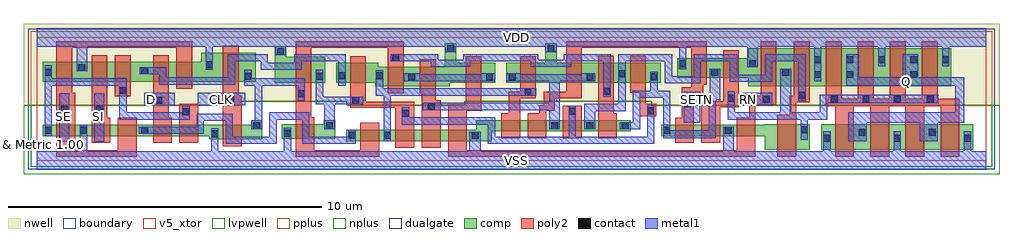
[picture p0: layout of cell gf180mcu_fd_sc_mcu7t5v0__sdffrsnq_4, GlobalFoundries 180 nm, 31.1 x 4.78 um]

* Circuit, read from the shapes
.subckt gf180mcu_fd_sc_mcu7t5v0__sdffrsnq_4 CLK D Q RN SE SETN SI VDD VSS
XM1 VSS SE n1 VSUBS nfet_05v0 w=0.36u l=0.6u
XM2 n2 SI VSS VSUBS nfet_05v0 w=0.36u l=0.6u
XM3 n3 SE n2 VSUBS nfet_05v0 w=0.36u l=0.6u
XM4 n4 D n3 VSUBS nfet_05v0 w=0.36u l=0.6u
XM5 VSS n1 n4 VSUBS nfet_05v0 w=0.36u l=0.6u
XM6 n5 CLK VSS VSUBS nfet_05v0 w=0.465u l=0.6u
XM7 n6 n5 VSS VSUBS nfet_05v0 w=0.465u l=0.6u
XM8 n7 n5 n3 VSUBS nfet_05v0 w=0.36u l=0.6u
XM9 n8 n6 n7 VSUBS nfet_05v0 w=0.36u l=0.6u
XM10 n9 n10 n8 VSUBS nfet_05v0 w=0.36u l=0.6u
XM11 VSS RN n9 VSUBS nfet_05v0 w=0.36u l=0.6u
XM12 n11 n7 VSS VSUBS nfet_05v0 w=0.36u l=0.6u
XM13 n10 SETN n11 VSUBS nfet_05v0 w=0.36u l=0.6u
XM14 n12 n6 n10 VSUBS nfet_05v0 w=0.36u l=0.6u
XM15 n13 n5 n12 VSUBS nfet_05v0 w=0.36u l=0.6u
XM16 n14 SETN n13 VSUBS nfet_05v0 w=0.36u l=0.6u
XM17 VSS n15 n14 VSUBS nfet_05v0 w=0.36u l=0.6u
XM18 n16 RN VSS VSUBS nfet_05v0 w=0.36u l=0.6u
XM19 n15 n12 n16 VSUBS nfet_05v0 w=0.82u l=0.6u
XM20 Q n15 VSS VSUBS nfet_05v0 w=0.82u l=0.6u m=4
XM21 VDD SE n1 n17 pfet_05v0 w=0.63u l=0.5u
XM22 n18 SI VDD n17 pfet_05v0 w=0.63u l=0.5u
XM23 n19 n1 n18 n17 pfet_05v0 w=0.63u l=0.5u
XM24 n20 D n19 n17 pfet_05v0 w=0.63u l=0.5u
XM25 VDD SE n20 n17 pfet_05v0 w=0.63u l=0.5u
XM26 n5 CLK VDD n17 pfet_05v0 w=0.925u l=0.5u
XM27 n6 n5 VDD n17 pfet_05v0 w=0.815u l=0.5u
XM28 n7 n6 n19 n17 pfet_05v0 w=0.625u l=0.5u
XM29 n21 n5 n7 n17 pfet_05v0 w=0.625u l=0.5u
XM30 VDD n10 n21 n17 pfet_05v0 w=0.625u l=0.5u
XM31 n21 RN VDD n17 pfet_05v0 w=0.625u l=0.5u
XM32 VDD n7 n10 n17 pfet_05v0 w=0.625u l=0.5u
XM33 n10 SETN VDD n17 pfet_05v0 w=0.63u l=0.5u
XM34 n12 n5 n10 n17 pfet_05v0 w=0.63u l=0.5u
XM35 n13 n6 n12 n17 pfet_05v0 w=0.63u l=0.5u
XM36 n13 SETN VDD n17 pfet_05v0 w=0.63u l=0.5u
XM37 VDD n15 n13 n17 pfet_05v0 w=0.63u l=0.5u
XM38 n15 RN VDD n17 pfet_05v0 w=1.22u l=0.5u
XM39 VDD n12 n15 n17 pfet_05v0 w=1.22u l=0.5u
XM40 Q n15 VDD n17 pfet_05v0 w=1.22u l=0.5u m=4
.ends

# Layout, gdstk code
import gdstk
lib = gdstk.Library(unit=1e-6, precision=1e-09)
def R(c, l, rs):  # rectangles x0, y0, x1, y1
    for r in rs: c.add(gdstk.rectangle(r[:2], r[2:], *l))
def A(c, l, x, y, w, h, nx, ny, dx, dy):  # array of equal rectangles
    R(c, l, [(x+i*dx, y+j*dy, x+i*dx+w, y+j*dy+h) for i in range(nx) for j in range(ny)])
def P(c, l, *ps):  # polygons
    for p in ps: c.add(gdstk.Polygon(p, *l))
boundary = (0, 0)
nwell = (21, 0)
comp = (22, 0)
poly2 = (30, 0)
pplus = (31, 0)
nplus = (32, 0)
contact = (33, 0)
metal1 = (34, 0)
dualgate = (55, 0)
v5_xtor = (112, 1)
lvpwell = (204, 0)

gf180mcu_fd_sc_mcu7t5v0_ = lib.new_cell('gf180mcu_fd_sc_mcu7t5v0__sdffrsnq_4')
R(gf180mcu_fd_sc_mcu7t5v0_, boundary, [(0,0,30.24,3.92)])
P(gf180mcu_fd_sc_mcu7t5v0_, nwell, [(-0.43,1.76),(-0.43,4.35),(30.67,4.35),(30.67,1.76),(19.59,1.76),(19.59,1.885),(13.63,1.885),(13.63,1.76),(9.87,1.76),(9.87,1.885),(6.455,1.885),(6.455,1.76)])
R(gf180mcu_fd_sc_mcu7t5v0_, comp, [(24.99,0.34,29.83,1.16)])
P(gf180mcu_fd_sc_mcu7t5v0_, comp, [(0.18,2.51),(0.18,3.14),(5.24,3.14),(5.24,3.435),(6.965,3.435),(6.965,2.51)],
  [(5.485,0.675),(5.485,0.78),(0.18,0.78),(0.18,1.14),(6.825,1.14),(6.825,1.285),(7.185,1.285),(7.185,0.675)],
  [(7.58,2.485),(7.58,3.645),(7.94,3.645),(7.94,3.3),(9.18,3.3),(9.18,2.485)],
  [(7.8,0.695),(7.8,1.16),(9.14,1.16),(9.14,1.285),(9.5,1.285),(9.5,0.695)],
  [(10.78,2.37),(10.78,2.485),(9.54,2.485),(9.54,3.11),(10.88,3.11),(10.88,2.995),(13,2.995),(13,3.74),(13.36,3.74),(13.36,3.11),(14.6,3.11),(14.6,2.485),(13.15,2.485),(13.15,2.37)],
  [(9.86,0.62),(9.86,0.98),(14,0.98),(14,1.285),(18.92,1.285),(18.92,0.925),(14.495,0.925),(14.495,0.62)],
  [(14.96,2.485),(14.96,3.11),(16.2,3.11),(16.2,3.74),(16.56,3.74),(16.56,3.115),(19.88,3.115),(19.88,2.485)],
  [(23.19,0.34),(23.19,0.78),(19.89,0.78),(19.89,1.14),(23.19,1.14),(23.19,1.16),(24.63,1.16),(24.63,0.34)],
  [(22.66,2.36),(22.66,2.635),(20.4,2.635),(20.4,3.265),(22.66,3.265),(22.66,3.58),(29.14,3.58),(29.14,2.36)])
R(gf180mcu_fd_sc_mcu7t5v0_, poly2, [(4.54,0.56,5.14,1.815), (16.755,0.705,17.355,1.745), (2.48,2.05,2.98,3.36)])
P(gf180mcu_fd_sc_mcu7t5v0_, poly2, [(1.74,0.56),(1.74,3.36),(2.24,3.36),(2.24,1.36),(2.34,1.36),(2.34,0.56)],
  [(3.7,0.56),(3.7,3.36),(4.2,3.36),(4.2,1.36),(4.3,1.36),(4.3,0.56)],
  [(0.62,0.12),(0.62,3.8),(4.94,3.8),(4.94,2.29),(4.44,2.29),(4.44,3.6),(1.12,3.6),(1.12,2.16),(1.22,2.16),(1.22,0.32),(2.58,0.32),(2.58,1.36),(3.18,1.36),(3.18,0.12)],
  [(5.925,0.455),(5.925,3.655),(6.425,3.655),(6.425,2.065),(6.525,2.065),(6.525,0.455)],
  [(8.24,0.12),(8.24,3.8),(11.68,3.8),(11.68,2.15),(11.18,2.15),(11.18,3.6),(8.74,3.6),(8.74,1.385),(8.84,1.385),(8.84,0.32),(10.3,0.32),(10.3,1.2),(10.9,1.2),(10.9,0.12)],
  [(11.42,0.4),(11.42,1.68),(9.98,1.68),(9.98,3.33),(10.48,3.33),(10.48,1.88),(12.02,1.88),(12.02,0.4)],
  [(12.26,0.4),(12.26,2.15),(12.2,2.15),(12.2,3.22),(12.7,3.22),(12.7,1.92),(12.86,1.92),(12.86,0.4)],
  [(14.795,0.705),(14.795,1.505),(15.035,1.505),(15.035,2.185),(15.4,2.185),(15.4,3.33),(15.9,3.33),(15.9,1.985),(15.395,1.985),(15.395,0.705)],
  [(17.88,0.705),(17.88,3.335),(18.38,3.335),(18.38,1.505),(18.48,1.505),(18.48,0.705)],
  [(19.2,1.405),(19.2,2.155),(18.9,2.155),(18.9,3.335),(19.4,3.335),(19.4,1.805),(19.74,1.805),(19.74,1.405)],
  [(20.33,0.56),(20.33,1.36),(20.54,1.36),(20.54,2.33),(20.84,2.33),(20.84,3.6),(17.36,3.6),(17.36,1.985),(16.5,1.985),(16.5,1.585),(16.235,1.585),(16.235,0.705),(15.635,0.705),(15.635,1.505),(16,1.505),(16,1.765),(16.14,1.765),(16.14,2.185),(16.86,2.185),(16.86,3.8),(21.34,3.8),(21.34,2.415),(21.23,2.415),(21.23,2.13),(20.93,2.13),(20.93,0.56)],
  [(21.17,0.56),(21.17,1.89),(21.86,1.89),(21.86,3.52),(22.36,3.52),(22.36,1.69),(21.77,1.69),(21.77,0.56)],
  [(13.1,0.12),(13.1,1.785),(13.66,1.785),(13.66,3.33),(14.16,3.33),(14.16,1.585),(13.7,1.585),(13.7,0.32),(22.29,0.32),(22.29,1.36),(22.69,1.36),(22.69,2.06),(23.06,2.06),(23.06,3.8),(23.56,3.8),(23.56,1.775),(22.89,1.775),(22.89,0.12)],
  [(23.59,0.12),(23.59,1.465),(23.99,1.465),(23.99,2.06),(24.12,2.06),(24.12,3.8),(24.62,3.8),(24.62,1.86),(24.19,1.86),(24.19,0.12)],
  [(25.43,0.12),(25.43,1.735),(25.14,1.735),(25.14,3.8),(25.64,3.8),(25.64,1.97),(26.16,1.97),(26.16,3.8),(26.66,3.8),(26.66,1.97),(27.18,1.97),(27.18,3.8),(27.68,3.8),(27.68,1.97),(28.2,1.97),(28.2,3.8),(28.7,3.8),(28.7,1.97),(29.39,1.97),(29.39,0.12),(28.79,0.12),(28.79,1.735),(28.27,1.735),(28.27,0.12),(27.67,0.12),(27.67,1.735),(27.15,1.735),(27.15,0.12),(26.55,0.12),(26.55,1.735),(26.03,1.735),(26.03,0.12)])
P(gf180mcu_fd_sc_mcu7t5v0_, pplus, [(-0.2,1.76),(-0.2,4.12),(30.44,4.12),(30.44,1.76),(19.59,1.76),(19.59,1.885),(13.63,1.885),(13.63,1.76),(9.87,1.76),(9.87,1.885),(6.455,1.885),(6.455,1.76)])
P(gf180mcu_fd_sc_mcu7t5v0_, nplus, [(-0.2,-0.2),(-0.2,1.76),(6.455,1.76),(6.455,1.885),(9.87,1.885),(9.87,1.76),(13.63,1.76),(13.63,1.885),(19.59,1.885),(19.59,1.76),(30.44,1.76),(30.44,-0.2)])
A(gf180mcu_fd_sc_mcu7t5v0_, contact, 25.06, 0.605, 0.22, 0.22, 3, 1, 2.24, 0)
A(gf180mcu_fd_sc_mcu7t5v0_, contact, 24.77, 3.1, 0.22, 0.22, 5, 1, 1.02, 0)
R(gf180mcu_fd_sc_mcu7t5v0_, contact, [(9.93,0.69,10.15,0.91), (11.05,0.69,11.27,0.91), (13.85,0.69,14.07,0.91), (5.555,0.745,5.775,0.965), (7.87,0.765,8.09,0.985), (26.18,0.79,26.4,1.01), (28.42,0.79,28.64,1.01), (0.25,0.85,0.47,1.07), (1.37,0.85,1.59,1.07), (3.33,0.85,3.55,1.07), (19.96,0.85,20.18,1.07), (21.92,0.85,22.14,1.07), (24.34,0.865,24.56,1.085), (6.895,0.995,7.115,1.215), (9.21,0.995,9.43,1.215), (16.385,0.995,16.605,1.215), (17.505,0.995,17.725,1.215), (18.63,0.995,18.85,1.215), (11.63,1.395,11.85,1.615), (4.635,1.45,4.855,1.67), (16.945,1.455,17.165,1.675), (19.45,1.475,19.67,1.695), (0.76,1.53,0.98,1.75), (1.88,1.53,2.1,1.75), (12.455,1.61,12.675,1.83), (20.61,1.69,20.83,1.91), (3.77,1.81,3.99,2.03), (10.05,1.81,10.27,2.03), (23.13,1.845,23.35,2.065), (6.07,1.85,6.29,2.07), (25.29,1.85,25.51,2.07), (26.305,1.85,26.525,2.07), (27.3,1.85,27.52,2.07), (28.35,1.85,28.57,2.07), (22.015,1.87,22.235,2.09), (24.265,1.97,24.485,2.19), (8.31,2.015,8.53,2.235), (15.535,2.07,15.755,2.29), (18.05,2.095,18.27,2.315), (2.63,2.12,2.85,2.34), (11.83,2.55,12.05,2.77), (14.31,2.555,14.53,2.775), (15.03,2.555,15.25,2.775), (17.51,2.555,17.73,2.775), (19.55,2.555,19.77,2.775), (8.89,2.57,9.11,2.79), (6.615,2.58,6.835,2.8), (10.805,2.585,11.025,2.805), (9.61,2.59,9.83,2.81), (24.77,2.63,24.99,2.85), (25.79,2.63,26.01,2.85), (27.83,2.63,28.05,2.85), (18.53,2.65,18.75,2.87), (0.25,2.7,0.47,2.92), (21.49,2.705,21.71,2.925), (23.75,2.705,23.97,2.925), (3.33,2.75,3.55,2.97), (1.32,2.85,1.54,3.07), (5.38,2.945,5.6,3.165), (20.47,2.975,20.69,3.195), (22.69,2.975,22.91,3.195), (11.325,3.165,11.545,3.385), (7.65,3.355,7.87,3.575), (13.07,3.45,13.29,3.67), (16.27,3.45,16.49,3.67)])
R(gf180mcu_fd_sc_mcu7t5v0_, metal1, [(0.705,0.595,1.03,2.15), (1.825,0.595,2.15,2.15), (20.605,1.21,21.14,2.19), (3.41,1.765,4.39,2.155), (5.13,1.765,6.63,2.155), (22.49,1.765,23.43,2.155)])
P(gf180mcu_fd_sc_mcu7t5v0_, metal1, [(0.245,0.78),(0.245,3.04),(0.475,3.04),(0.475,2.615),(2.855,2.615),(2.855,1.535),(4.63,1.535),(4.63,1.75),(4.86,1.75),(4.86,1.305),(2.625,1.305),(2.625,2.385),(0.475,2.385),(0.475,0.78)],
  [(6.835,0.99),(6.835,1.285),(6.945,1.285),(6.945,2.385),(6.61,2.385),(6.61,2.89),(6.84,2.89),(6.84,2.62),(8.535,2.62),(8.535,1.91),(8.305,1.91),(8.305,2.385),(7.175,2.385),(7.175,0.99)],
  [(9.605,2.385),(9.605,3.16),(8.435,3.16),(8.435,2.89),(7.13,2.89),(7.13,3.16),(6.315,3.16),(6.315,2.42),(3.89,2.42),(3.89,2.745),(3.27,2.745),(3.27,2.975),(4.12,2.975),(4.12,2.655),(6.085,2.655),(6.085,3.39),(7.36,3.39),(7.36,3.12),(8.205,3.12),(8.205,3.39),(9.835,3.39),(9.835,2.385)],
  [(6.01,0.53),(6.01,1.26),(5.32,1.26),(5.32,0.845),(3.25,0.845),(3.25,1.075),(5.09,1.075),(5.09,1.49),(6.24,1.49),(6.24,0.76),(7.405,0.76),(7.405,1.53),(8.68,1.53),(8.68,0.76),(9.925,0.76),(9.925,0.98),(10.155,0.98),(10.155,0.53),(8.45,0.53),(8.45,1.295),(7.635,1.295),(7.635,0.53)],
  [(9.15,0.99),(9.15,1.8),(8.885,1.8),(8.885,2.89),(9.115,2.89),(9.115,2.035),(10.395,2.035),(10.395,1.8),(9.49,1.8),(9.49,0.99)],
  [(11.68,2.525),(11.68,2.775),(12.2,2.775),(12.2,2.755),(14.16,2.755),(14.16,2.78),(14.6,2.78),(14.6,2.525)],
  [(11.045,0.62),(11.045,2.065),(10.8,2.065),(10.8,2.87),(11.03,2.87),(11.03,2.295),(15.905,2.295),(15.905,2.065),(11.275,2.065),(11.275,0.62)],
  [(16.325,0.99),(16.325,1.605),(12.295,1.605),(12.295,1.835),(16.325,1.835),(16.325,2.525),(14.96,2.525),(14.96,2.78),(15.4,2.78),(15.4,2.755),(17.36,2.755),(17.36,2.78),(17.79,2.78),(17.79,2.525),(16.665,2.525),(16.665,0.99)],
  [(18.045,2.035),(18.045,3.16),(17.02,3.16),(17.02,2.985),(15.74,2.985),(15.74,3.16),(13.81,3.16),(13.81,2.985),(12.55,2.985),(12.55,3.16),(11.265,3.16),(11.265,3.39),(12.78,3.39),(12.78,3.215),(13.58,3.215),(13.58,3.39),(15.97,3.39),(15.97,3.215),(16.79,3.215),(16.79,3.39),(18.275,3.39),(18.275,2.035)],
  [(14.37,0.53),(14.37,1.145),(11.625,1.145),(11.625,1.7),(11.855,1.7),(11.855,1.375),(14.6,1.375),(14.6,0.76),(16.94,0.76),(16.94,1.745),(17.17,1.745),(17.17,0.76),(19.445,0.76),(19.445,1.765),(19.675,1.765),(19.675,0.53)],
  [(19.955,0.715),(19.955,1.995),(19.215,1.995),(19.215,0.99),(18.57,0.99),(18.57,1.22),(18.985,1.22),(18.985,2.225),(19.545,2.225),(19.545,2.835),(19.775,2.835),(19.775,2.225),(20.185,2.225),(20.185,0.96),(21.4,0.96),(21.4,2.155),(21.43,2.155),(21.43,2.93),(21.77,2.93),(21.77,1.925),(21.63,1.925),(21.63,0.715)],
  [(17.445,0.99),(17.445,1.805),(18.525,1.805),(18.525,3.39),(20.235,3.39),(20.235,2.685),(20.925,2.685),(20.925,3.39),(22.315,3.39),(22.315,2.74),(23.2,2.74),(23.2,3.39),(24.49,3.39),(24.49,1.91),(24.26,1.91),(24.26,3.16),(23.43,3.16),(23.43,2.51),(22.08,2.51),(22.08,3.16),(21.155,3.16),(21.155,2.455),(20.005,2.455),(20.005,3.16),(18.755,3.16),(18.755,1.575),(17.785,1.575),(17.785,0.99)],
  [(24.335,0.655),(24.335,1.305),(22.01,1.305),(22.01,2.2),(22.24,2.2),(22.24,1.535),(23.69,1.535),(23.69,2.93),(24.03,2.93),(24.03,1.535),(24.945,1.535),(24.945,2.095),(28.725,2.095),(28.725,1.825),(25.175,1.825),(25.175,1.305),(24.565,1.305),(24.565,0.655)],
  [(25.85,0.61),(25.85,1.535),(29.255,1.535),(29.255,2.385),(25.785,2.385),(25.785,3.38),(26.18,3.38),(26.18,2.655),(27.585,2.655),(27.585,3.38),(28.085,3.38),(28.085,2.655),(29.54,2.655),(29.54,1.205),(28.695,1.205),(28.695,0.61),(28.135,0.61),(28.135,1.205),(26.435,1.205),(26.435,0.61)],
  [(0,-0.3),(0,0.3),(1.365,0.3),(1.365,1.14),(1.595,1.14),(1.595,0.3),(5.55,0.3),(5.55,1.025),(5.78,1.025),(5.78,0.3),(7.865,0.3),(7.865,1.045),(8.095,1.045),(8.095,0.3),(13.78,0.3),(13.78,0.915),(14.14,0.915),(14.14,0.3),(21.86,0.3),(21.86,1.075),(22.2,1.075),(22.2,0.3),(25.055,0.3),(25.055,0.925),(25.285,0.925),(25.285,0.3),(27.295,0.3),(27.295,0.925),(27.525,0.925),(27.525,0.3),(29.535,0.3),(29.535,0.925),(29.765,0.925),(29.765,0.3),(30.24,0.3),(30.24,-0.3)],
  [(24.765,2.53),(24.765,3.62),(22.97,3.62),(22.97,2.97),(22.63,2.97),(22.63,3.62),(20.695,3.62),(20.695,2.915),(20.465,2.915),(20.465,3.62),(16.56,3.62),(16.56,3.445),(16.2,3.445),(16.2,3.62),(13.35,3.62),(13.35,3.445),(13.01,3.445),(13.01,3.62),(7.93,3.62),(7.93,3.35),(7.59,3.35),(7.59,3.62),(5.605,3.62),(5.605,2.885),(5.375,2.885),(5.375,3.62),(1.6,3.62),(1.6,2.845),(1.26,2.845),(1.26,3.62),(0,3.62),(0,4.22),(30.24,4.22),(30.24,3.62),(29.075,3.62),(29.075,3),(28.845,3),(28.845,3.62),(27.035,3.62),(27.035,3),(26.805,3),(26.805,3.62),(24.995,3.62),(24.995,2.53)])
R(gf180mcu_fd_sc_mcu7t5v0_, dualgate, [(-0.28,-0.28,30.52,4.2)])
R(gf180mcu_fd_sc_mcu7t5v0_, v5_xtor, [(0,0,30.24,3.92)])
P(gf180mcu_fd_sc_mcu7t5v0_, lvpwell, [(-0.43,-0.43),(-0.43,1.76),(6.455,1.76),(6.455,1.885),(9.87,1.885),(9.87,1.76),(13.63,1.76),(13.63,1.885),(19.59,1.885),(19.59,1.76),(30.67,1.76),(30.67,-0.43)])
gf180mcu_fd_sc_mcu7t5v0_.add(gdstk.Label('Q', (27.72,2.52), layer=34, texttype=10))
gf180mcu_fd_sc_mcu7t5v0_.add(gdstk.Label('RN', (22.68,1.96), layer=34, texttype=10))
gf180mcu_fd_sc_mcu7t5v0_.add(gdstk.Label('SE', (0.84,1.4), layer=34, texttype=10))
gf180mcu_fd_sc_mcu7t5v0_.add(gdstk.Label('SETN', (21,1.96), layer=34, texttype=10))
gf180mcu_fd_sc_mcu7t5v0_.add(gdstk.Label('SI', (1.96,1.4), layer=34, texttype=10))
gf180mcu_fd_sc_mcu7t5v0_.add(gdstk.Label('VDD', (15.265,3.92), layer=34, texttype=10))
gf180mcu_fd_sc_mcu7t5v0_.add(gdstk.Label('VSS', (15.265,-0.005), layer=34, texttype=10))
gf180mcu_fd_sc_mcu7t5v0_.add(gdstk.Label('CLK', (5.88,1.96), layer=34, texttype=10))
gf180mcu_fd_sc_mcu7t5v0_.add(gdstk.Label('D', (3.64,1.96), layer=34, texttype=10))
gf180mcu_fd_sc_mcu7t5v0_.add(gdstk.Label('& Vendor GLOBALFOUNDRIES', (0,2), layer=63, texttype=63))
gf180mcu_fd_sc_mcu7t5v0_.add(gdstk.Label('& Product GF018hv5v_mcu_sc7', (0,1.5), layer=63, texttype=63))
gf180mcu_fd_sc_mcu7t5v0_.add(gdstk.Label('& Version 2015q2v1', (0,1), layer=63, texttype=63))
gf180mcu_fd_sc_mcu7t5v0_.add(gdstk.Label('& Metric 1.00', (0,0.5), layer=63, texttype=63))

lib.write_gds('gf180mcu_fd_sc_mcu7t5v0__sdffrsnq_4.gds')
